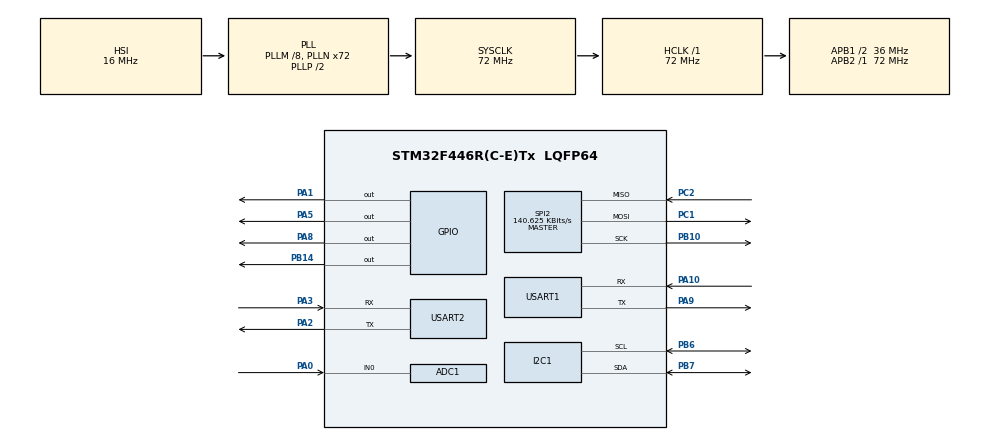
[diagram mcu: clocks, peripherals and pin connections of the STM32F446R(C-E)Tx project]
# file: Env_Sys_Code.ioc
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ADC1.Channel-0\#ChannelRegularConversion=ADC_CHANNEL_0
ADC1.InjNumberOfConversion=0
ADC1.NbrOfConversionFlag=1
ADC1.Rank-0\#ChannelRegularConversion=1
ADC1.SamplingTime-0\#ChannelRegularConversion=ADC_SAMPLETIME_15CYCLES
ADC1.master=1
I2C1.I2C_Mode=I2C_Fast
Mcu.Family=STM32F4
Mcu.Name=STM32F446R(C-E)Tx
Mcu.Package=LQFP64
NVIC.PriorityGroup=NVIC_PRIORITYGROUP_0
NVIC.USART1_IRQn=true\:0\:0\:false\:false\:true\:true\:true\:true
PA0-WKUP.Signal=ADCx_IN0
PA1.Signal=GPIO_Output
PA10.Mode=Asynchronous
PA10.Signal=USART1_RX
PA13.Mode=Serial_Wire
PA13.Signal=SYS_JTMS-SWDIO
PA14.Mode=Serial_Wire
PA14.Signal=SYS_JTCK-SWCLK
PA2.Mode=Asynchronous
PA2.Signal=USART2_TX
PA3.Mode=Asynchronous
PA3.Signal=USART2_RX
PA5.Signal=GPIO_Output
PA8.GPIO_ModeDefaultOutputPP=GPIO_MODE_OUTPUT_PP
PA8.GPIO_PuPd=GPIO_PULLUP
PA8.GPIO_Speed=GPIO_SPEED_FREQ_MEDIUM
PA8.PinState=GPIO_PIN_SET
PA8.Signal=GPIO_Output
PA9.Mode=Asynchronous
PA9.Signal=USART1_TX
PB10.GPIO_PuPd=GPIO_PULLUP
PB10.Mode=Full_Duplex_Master
PB10.Signal=SPI2_SCK
PB14.Signal=GPIO_Output
PB6.Mode=I2C
PB6.Signal=I2C1_SCL
PB7.Mode=I2C
PB7.Signal=I2C1_SDA
PC1.GPIO_PuPd=GPIO_PULLUP
PC1.Mode=Full_Duplex_Master
PC1.Signal=SPI2_MOSI
PC2.GPIO_PuPd=GPIO_PULLUP
PC2.Mode=Full_Duplex_Master
PC2.Signal=SPI2_MISO
PH0-OSC_IN.Mode=HSE-External-Oscillator
PH0-OSC_IN.Signal=RCC_OSC_IN
PH1-OSC_OUT.Mode=HSE-External-Oscillator
PH1-OSC_OUT.Signal=RCC_OSC_OUT
ProjectManager.HeapSize=0x200
ProjectManager.StackSize=0x400
ProjectManager.TargetToolchain=STM32CubeIDE
RCC.48MHZClocksFreq_Value=84000000
RCC.AHBFreq_Value=72000000
RCC.APB1CLKDivider=RCC_HCLK_DIV2
RCC.APB1Freq_Value=36000000
RCC.APB1TimFreq_Value=72000000
RCC.APB2Freq_Value=72000000
RCC.APB2TimFreq_Value=72000000
RCC.CortexFreq_Value=72000000
RCC.FLatency-AdvancedSettings=FLASH_LATENCY_2
RCC.HCLKFreq_Value=72000000
RCC.HSE_VALUE=8000000
RCC.HSI_VALUE=16000000
RCC.PLLM=8
RCC.PLLN=72
RCC.SYSCLKFreq_VALUE=72000000
RCC.SYSCLKSource=RCC_SYSCLKSOURCE_PLLCLK
RCC.USBFreq_Value=72000000
RCC.VCOOutputFreq_Value=144000000
RTC.Date=28
RTC.Hours=12
RTC.Minutes=17
RTC.Month=RTC_MONTH_APRIL
RTC.WeekDay=RTC_WEEKDAY_MONDAY
RTC.Year=0
SH.ADCx_IN0.0=ADC1_IN0,IN0
SPI2.BaudRatePrescaler=SPI_BAUDRATEPRESCALER_256
SPI2.CalculateBaudRate=140.625 KBits/s
SPI2.Direction=SPI_DIRECTION_2LINES
SPI2.Mode=SPI_MODE_MASTER
SPI2.VirtualType=VM_MASTER
TIM1.Prescaler=71
USART1.VirtualMode=VM_ASYNC
USART2.VirtualMode=VM_ASYNC
VP_FATFS_VS_Generic.Mode=User_defined
VP_RTC_VS_RTC_Activate.Mode=RTC_Enabled
VP_RTC_VS_RTC_Calendar.Mode=RTC_Calendar
VP_TIM1_VS_ClockSourceINT.Mode=Internal
board=NUCLEO-F446RE

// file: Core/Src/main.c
/* USER CODE BEGIN Header */
/**
  ******************************************************************************
* @file         : main.c
*@brief         : Main program body

  ******************************************************************************
* @attention
*
*Copyright (c) 2024 STMicroelectronics.
* All rights reserved.
* This software is licensed under terms that can be found in the LICENSE file
* in the root directory of this software, it is provided AS-IS.
*
 ******************************************************************************
  */
/* USER CODE END Header */
#include "main.h"
#include "fatfs.h"

/* USER CODE BEGIN Includes */
extern I2C_HandleTypeDef hi2c1;

#include "fonts.h"
#include "ssd1306.h"
#include <stdio.h>
#include <stdarg.h> //for va_list var arg functions
#include <string.h>

/* USER CODE END Includes */

ADC_HandleTypeDef hadc1;

I2C_HandleTypeDef hi2c1;

RTC_HandleTypeDef hrtc;

SPI_HandleTypeDef hspi2;

TIM_HandleTypeDef htim1;

UART_HandleTypeDef huart1;
UART_HandleTypeDef huart2;

/* USER CODE BEGIN PV */
float temperature;
char string[64];
void myprintf(const char *fmt, ...);
uint16_t gas=0;
char msg[20];
/* USER CODE END PV */

void SystemClock_Config(void);
static void MX_GPIO_Init(void);
static void MX_I2C1_Init(void);
static void MX_TIM1_Init(void);
static void MX_USART1_UART_Init(void);
static void MX_RTC_Init(void);
static void MX_SPI2_Init(void);
static void MX_USART2_UART_Init(void);
static void MX_ADC1_Init(void);

/* USER CODE BEGIN 0 */
void myprintf(const char *fmt, ...) {
  static char buffer[256];
  va_list args;
  va_start(args, fmt);
  vsnprintf(buffer, sizeof(buffer), fmt, args);
  va_end(args);

  int len = strlen(buffer);
  HAL_UART_Transmit(&huart2, (uint8_t*)buffer, len, -1);

}

/* USER CODE END 0 */

int main(void)
{

  /* MCU Configuration--------------------------------------------------------*/

  /* Reset of all peripherals, Initializes the Flash interface and the Systick. */
  HAL_Init();

  /* Configure the system clock */
  SystemClock_Config();

  /* Initialize all configured peripherals */
  MX_GPIO_Init();
  MX_I2C1_Init();
  MX_TIM1_Init();
  MX_USART1_UART_Init();
  MX_RTC_Init();
  MX_SPI2_Init();
  MX_USART2_UART_Init();
  MX_FATFS_Init();
  MX_ADC1_Init();
  /* USER CODE BEGIN 2 */
  HAL_TIM_Base_Start(&htim1);

#define DHT22_PORT GPIOB
#define DHT22_PIN GPIO_PIN_14

uint8_t hum1, hum2, tempC1, tempC2, SUM, CHECK;
uint32_t pMillis, cMillis;
float temp_Celsius = 0;
float Humidity = 0;

uint8_t hum_integral, hum_decimal, tempC_integral, tempC_decimal;
char string[15];

void microDelay (uint16_t delay)
{
  __HAL_TIM_SET_COUNTER(&htim1, 0);
  while (__HAL_TIM_GET_COUNTER(&htim1) < delay);
}

uint8_t DHT22_Start (void)
{
  uint8_t Response = 0;
  GPIO_InitTypeDef GPIO_InitStructPrivate = {0};
  GPIO_InitStructPrivate.Pin = DHT22_PIN;
  GPIO_InitStructPrivate.Mode = GPIO_MODE_OUTPUT_PP;
  GPIO_InitStructPrivate.Speed = GPIO_SPEED_FREQ_LOW;
  GPIO_InitStructPrivate.Pull = GPIO_NOPULL;
  HAL_GPIO_Init(DHT22_PORT, &GPIO_InitStructPrivate);
  HAL_GPIO_WritePin (DHT22_PORT, DHT22_PIN, 0);
  microDelay (1300);
  HAL_GPIO_WritePin (DHT22_PORT, DHT22_PIN, 1);
  microDelay (30);
  GPIO_InitStructPrivate.Mode = GPIO_MODE_INPUT;
  GPIO_InitStructPrivate.Pull = GPIO_PULLUP;
  HAL_GPIO_Init(DHT22_PORT, &GPIO_InitStructPrivate);
  microDelay (40);
  if (!(HAL_GPIO_ReadPin (DHT22_PORT, DHT22_PIN)))
  {
    microDelay (80);
    if ((HAL_GPIO_ReadPin (DHT22_PORT, DHT22_PIN))) Response = 1;
  }
  pMillis = HAL_GetTick();
  cMillis = HAL_GetTick();
  while ((HAL_GPIO_ReadPin (DHT22_PORT, DHT22_PIN)) && pMillis + 2 > cMillis)
  {
    cMillis = HAL_GetTick();
  }
  return Response;
}

uint8_t DHT22_Read (void)
{
  uint8_t x,y;
  for (x=0;x<8;x++)
  {
    pMillis = HAL_GetTick();
    cMillis = HAL_GetTick();
    while (!(HAL_GPIO_ReadPin (DHT22_PORT, DHT22_PIN)) && pMillis + 2 > cMillis)
    {
      cMillis = HAL_GetTick();
    }
    microDelay (40);
    if (!(HAL_GPIO_ReadPin (DHT22_PORT, DHT22_PIN)))   // if the pin is low
      y&= ~(1<<(7-x));
    else
      y|= (1<<(7-x));
    pMillis = HAL_GetTick();
    cMillis = HAL_GetTick();
    while ((HAL_GPIO_ReadPin (DHT22_PORT, DHT22_PIN)) && pMillis + 2 > cMillis)
    {  // wait for the pin to go low
      cMillis = HAL_GetTick();
    }
  }
  return y;
}
  uint8_t res = SSD1306_Init();

  uint8_t rxBuffer[512] = {0};
          uint8_t ATisOK;
          char ATcommand[512];
          char ATcommandB[1024];
          char ATcommandT[512];
          char tempStr[512];
		 char humStr[512];
		 char gasLStr[512];
		 char gasStr[512];

          sprintf(ATcommandB, "<!DOCTYPE html><html>\n<head>\n\
                  <meta charset=\"UTF-8\">\n\
                  <title>Environmental Monitoring</title>\n<meta name=\"viewport\" content=\"width=device-width, initial-scale=1\">\n\
                  <style>\n\
                  body { font-family: Arial, sans-serif; text-align: center; background: #f4f4f4; margin: 0; padding: 0; }\n\
                  header { background-color: #0066cc; color: white; padding: 20px 10px; }\n\
                  h1 { margin: 0; font-size: 26px; }\n\
                  .info-card { background: white; border-radius: 10px; margin: 20px auto; padding: 20px; \n\
                  box-shadow: 0 4px 8px rgba(0,0,0,0.1); width: 90%%; max-width: 400px; }\n\
                  .reading { font-size: 22px; color: #333; margin: 10px 0; }\n\
                  .status { font-size: 18px; color: #888; }\n\
                  footer { margin-top: 30px; color: #666; }\n\
                  </style>\n</head>\n<body>\n\
                  <header><h1>Environmental Monitoring System</h1></header>\n\
                  <div class=\"info-card\">\n");

          sprintf(ATcommandT,
          "</div>\n\
          <footer style=\"background-color: #0066cc; color: white; padding: 15px 10px; font-size: 14px; margin-top: 40px;\">\n\
          <p>&copy; 2025 Environmental Monitoring Project<br>Developed by Nwofor Amuche Prince & Ugama Andrew Ebili</p>\n\
          </footer>\n\
          </body></html>");

//       Establishing connection between esp8266 and the client
          sprintf(ATcommand,"AT+RST\r\n");
          memset(rxBuffer,0,sizeof(rxBuffer));
          HAL_UART_Transmit(&huart1,(uint8_t *)ATcommand,strlen(ATcommand),1000);
          HAL_UART_Receive (&huart1, rxBuffer, 512, 100);
          HAL_Delay(500);

          ATisOK = 0;
          while(!ATisOK){
            sprintf(ATcommand,"AT+CWMODE_CUR=2\r\n");
              memset(rxBuffer,0,sizeof(rxBuffer));
              HAL_UART_Transmit(&huart1,(uint8_t *)ATcommand,strlen(ATcommand),1000);
              HAL_UART_Receive (&huart1, rxBuffer, 512, 1000);
            if(strstr((char *)rxBuffer,"OK")){
              ATisOK = 1;
            }
            HAL_Delay(500);
          }
// Setting the WIFI details
          ATisOK = 0;
          while(!ATisOK){
            sprintf(ATcommand,"AT+CWSAP_CUR=\"IoT-SYSTEM\",\"20252025\",1,3,4,0\r\n");
              memset(rxBuffer,0,sizeof(rxBuffer));
              HAL_UART_Transmit(&huart1,(uint8_t *)ATcommand,strlen(ATcommand),1000);
              HAL_UART_Receive (&huart1, rxBuffer, 512, 1000);
            if(strstr((char *)rxBuffer,"OK")){
              ATisOK = 1;
            }
            HAL_Delay(500);
          }

          ATisOK = 0;
          while(!ATisOK){
            sprintf(ATcommand,"AT+CIPAP_CUR=\"192.168.72.1\"\r\n");
            memset(rxBuffer,0,sizeof(rxBuffer));
            HAL_UART_Transmit(&huart1,(uint8_t *)ATcommand,strlen(ATcommand),1000);
            HAL_UART_Receive (&huart1, rxBuffer, 512, 1000);
            if(strstr((char *)rxBuffer,"OK")){
              ATisOK = 1;
            }
            HAL_Delay(500);
          }

          ATisOK = 0;
          while(!ATisOK){
            sprintf(ATcommand,"AT+CIPMUX=1\r\n");
              memset(rxBuffer,0,sizeof(rxBuffer));
              HAL_UART_Transmit(&huart1,(uint8_t *)ATcommand,strlen(ATcommand),1000);
              HAL_UART_Receive (&huart1, rxBuffer, 512, 1000);
              if(strstr((char *)rxBuffer,"OK")){
                ATisOK = 1;
              }
              HAL_Delay(500);
          }

          ATisOK = 0;
          while(!ATisOK){
            sprintf(ATcommand,"AT+CIPSERVER=1,80\r\n");
            memset(rxBuffer,0,sizeof(rxBuffer));
            HAL_UART_Transmit(&huart1,(uint8_t *)ATcommand,strlen(ATcommand),1000);
            HAL_UART_Receive (&huart1, rxBuffer, 512, 1000);
            if(strstr((char *)rxBuffer,"OK")){
                ATisOK = 1;
            }
            HAL_Delay(500);
          }
		RTC_DateTypeDef sDate;
		RTC_TimeTypeDef sTime;

		myprintf("\r\n~ SD card Project ~\r\n\r\n");

			HAL_Delay(1000); // Let the SD card settle

			// FatFs variables
			FATFS FatFs;   // Filesystem handle
			FRESULT fres;  // Result after operations

			// Mount the filesystem
			fres = f_mount(&FatFs, "", 1);

  /* USER CODE END 2 */

  /* Infinite loop */
  /* USER CODE BEGIN WHILE */
  while (1)
  {
	  HAL_RTC_GetTime(&hrtc, &sTime, RTC_FORMAT_BIN);
	  HAL_RTC_GetDate(&hrtc, &sDate, RTC_FORMAT_BIN);
	  FIL fil;
	  UINT bytesWrote;
	  BYTE writeBuf[100];
	  FRESULT fres;

	  if(DHT22_Start())
	  	     {
	  	       hum1 = DHT22_Read();
	  	       hum2 = DHT22_Read();
	  	       tempC1 = DHT22_Read();
	  	       tempC2 = DHT22_Read();
	  	       SUM = DHT22_Read();
	  	       CHECK = hum1 + hum2 + tempC1 + tempC2;
	  	       if (CHECK == SUM)
	  	       {
	  	         if (tempC1>127)
	  	         {
	  	           temp_Celsius = (float)tempC2/10*(-1);
	  	         }
	  	         else
	  	         {
	  	           temp_Celsius = (float)((tempC1<<8)|tempC2)/10;
	  	         }

	  	         Humidity = (float) ((hum1<<8)|hum2)/10;

	  	         SSD1306_GotoXY (0, 0);
	  	         hum_integral = Humidity;
	  	         hum_decimal = Humidity*10-hum_integral*10;
	  	         sprintf(string,"Hum:%d.%d %% ", hum_integral, hum_decimal);
	  	         SSD1306_Puts (string, &Font_11x18, 1);

	  	         SSD1306_GotoXY (0, 20);
	  	         if (temp_Celsius < 0)
	  	         {
	  	           tempC_integral = temp_Celsius *(-1);
	  	           tempC_decimal = temp_Celsius*(-10)-tempC_integral*10;
	  	           sprintf(string,"Temp:-%d.%d C", tempC_integral, tempC_decimal);
	  	         }
	  	         else
	  	         {
	  	           tempC_integral = temp_Celsius;
	  	           tempC_decimal = temp_Celsius*10-tempC_integral*10;
	  	           sprintf(string,"Temp:%d.%d C", tempC_integral, tempC_decimal);
	  	         }
	  	         SSD1306_Puts (string, &Font_11x18, 1);

	  	         SSD1306_GotoXY (0, 40);

	  	         // Gas Reading code
	  	         HAL_ADC_Start(&hadc1);
	  	         HAL_ADC_PollForConversion(&hadc1, 20);
	  	         gas = HAL_ADC_GetValue(&hadc1);

	  	       // If gas value is less than 1010,  turn off the alarm systems and Display the readings
	  	         if (gas <= 1010)
					 {
						 HAL_GPIO_WritePin(GPIOA, GPIO_PIN_5, GPIO_PIN_RESET);  // Turn off LED
						 sprintf(string,"Normal Air Quality");
						 HAL_GPIO_WritePin(GPIOA, GPIO_PIN_1, GPIO_PIN_RESET); // Turrn off buzzer
						// Display the reading on the Oled
						 SSD1306_Puts (string, &Font_7x10, 1);
						 SSD1306_UpdateScreen();
						 //Display the reading on a webpage
						 sprintf(tempStr, "<div class=\"reading\">Temperature: <strong>%d.%d &deg;C</strong></div>\n",tempC_integral, tempC_decimal);
						 sprintf(humStr, "<div class=\"reading\">Humidity: <strong>%d.%d %%</strong></div>\n",hum_integral, hum_decimal);
						 sprintf(gasLStr, "<div class=\"reading\">LPG Level: <strong>%hu</strong></div>\n",gas);
						 sprintf(gasLStr, "<div class=\"reading\">LPG Level: <strong>%hu</strong></div>\n",gas);
						 sprintf(gasStr, "<div class=\"reading\" style=\"font-weight: bold;\">No Toxic Gas Detected!</div>\n");
							  memset(rxBuffer, 0, sizeof(rxBuffer));
							  HAL_UART_Receive(&huart1, rxBuffer, 512, 1000);

							  // Check if we have an incoming request for the page
							  if(strstr((char *)rxBuffer, "GET /"))
							  {
								  // Prepare and send the HTML page with the current temperature
									  sprintf(ATcommand, "AT+CIPSEND=0,%d\r\n", strlen(ATcommandB)  + strlen(tempStr)  + strlen(humStr) + strlen(gasLStr)+ strlen(gasStr)+ strlen(ATcommandT));
									  memset(rxBuffer, 0, sizeof(rxBuffer));
									  HAL_UART_Transmit(&huart1, (uint8_t *)ATcommand, strlen(ATcommand), 1000);
									  HAL_UART_Receive(&huart1, rxBuffer, 512, 100);

								  if(strstr((char *)rxBuffer, ">"))
								  {
									  memset(rxBuffer, 0, sizeof(rxBuffer));
									  HAL_UART_Transmit(&huart1, (uint8_t *)ATcommandB, strlen(ATcommandB), 1000);
									  HAL_UART_Transmit(&huart1, (uint8_t *)tempStr, strlen(tempStr), 1000);
									  HAL_UART_Transmit(&huart1, (uint8_t *)humStr, strlen(humStr), 1000);
									  HAL_UART_Transmit(&huart1, (uint8_t *)gasLStr, strlen(gasLStr), 1000);
									  HAL_UART_Transmit(&huart1, (uint8_t *)gasStr, strlen(gasStr), 1000);
									  HAL_UART_Transmit(&huart1, (uint8_t *)ATcommandT, strlen(ATcommandT), 1000);
									  HAL_UART_Receive(&huart1, rxBuffer, 512, 100);
								  }

								  // Close the connection after sending the response
								  sprintf(ATcommand, "AT+CIPCLOSE=0\r\n");
								  memset(rxBuffer, 0, sizeof(rxBuffer));
								  HAL_UART_Transmit(&huart1, (uint8_t *)ATcommand, strlen(ATcommand), 1000);
								  HAL_UART_Receive(&huart1, rxBuffer, 512, 100);

					 }

								  // Data Storage code
					  fres = f_open(&fil, "data.txt", FA_WRITE | FA_OPEN_ALWAYS);
						  if (fres == FR_OK) {
							myprintf("Opened 'data.txt' for appending\r\n");

							// Move the file pointer to the end to append
							f_lseek(&fil, f_size(&fil));

							// Append a new line
							f_write(&fil, "\r\n", 2, &bytesWrote);

							// Write message
							snprintf(writeBuf, sizeof(writeBuf),
									 " Date&Time: %04d-%02d-%02d %02d:%02d:%02d  Temp:%d.%d C  Hum:%d.%d %%  LPG Level:%hu Air Quality:Normal", 2025 + sDate.Year, sDate.Month, sDate.Date, sTime.Hours, sTime.Minutes,      								sTime.Seconds,tempC_integral, tempC_decimal,hum_integral, hum_decimal,gas);
							fres = f_write(&fil, writeBuf, strlen((char*)writeBuf), &bytesWrote);
							if (fres == FR_OK) {
							  myprintf("Wrote %i bytes: %s\r\n", bytesWrote, writeBuf);
							} else {
							  myprintf("f_write error (%i)\r\n", fres);
							}

							f_close(&fil);
						  } else {
							myprintf("Failed to open 'data.txt' (%i)\r\n", fres);
						  }

	  	      	         }
	  	         	 //	if the gas reading is above the threshold, activate the alert system and display the reading
	  	      	         else
	  	      	         {

	  	      	     	 HAL_GPIO_WritePin(GPIOA, GPIO_PIN_5, GPIO_PIN_SET); // Turn On LED
						 sprintf(string,"Toxic Gas Detected");
						 HAL_GPIO_WritePin(GPIOA, GPIO_PIN_1, GPIO_PIN_SET); // Turn On  the Buzzer
					//	 Display the reading on OLed
						 SSD1306_Puts (string, &Font_7x10, 1);
						 SSD1306_UpdateScreen();
                   //		Send the reading to a web server
    	      	         sprintf(tempStr, "<div class=\"reading\">Temperature: <strong>%d.%d &deg;C</strong></div>\n",tempC_integral, tempC_decimal);
	  	      	         sprintf(humStr, "<div class=\"reading\">Humidity: <strong>%d.%d %%</strong></div>\n",hum_integral, hum_decimal);
	  	      	         sprintf(gasLStr, "<div class=\"reading\">LPG Level: <strong>%hu</strong></div>\n",gas);
						  sprintf(gasStr, "<div class=\"reading\" style=\"color: red; font-weight: bold;\">⚠️ Toxic Gas Detected!</div>\n");

						  memset(rxBuffer, 0, sizeof(rxBuffer));
						  HAL_UART_Receive(&huart1, rxBuffer, 512, 1000);

						  // Check if we have an incoming request for the page
						  if(strstr((char *)rxBuffer, "GET /"))
						  {
							  // Prepare and send the HTML page with the current temperature
							  sprintf(ATcommand, "AT+CIPSEND=0,%d\r\n", strlen(ATcommandB)  + strlen(tempStr) + strlen(humStr) + strlen(gasLStr)+ strlen(gasStr)+ strlen(ATcommandT));
							  memset(rxBuffer, 0, sizeof(rxBuffer));
							  HAL_UART_Transmit(&huart1, (uint8_t *)ATcommand, strlen(ATcommand), 1000);
							  HAL_UART_Receive(&huart1, rxBuffer, 512, 100);

							  if(strstr((char *)rxBuffer, ">"))
							  {
								  memset(rxBuffer, 0, sizeof(rxBuffer));
								  HAL_UART_Transmit(&huart1, (uint8_t *)ATcommandB, strlen(ATcommandB), 1000);
								  HAL_UART_Transmit(&huart1, (uint8_t *)tempStr, strlen(tempStr), 1000);
								  HAL_UART_Transmit(&huart1, (uint8_t *)humStr, strlen(humStr), 1000);
								  HAL_UART_Transmit(&huart1, (uint8_t *)gasLStr, strlen(gasLStr), 1000);
								  HAL_UART_Transmit(&huart1, (uint8_t *)gasStr, strlen(gasStr), 1000);
//								  HAL_UART_Transmit(&huart1, (uint8_t *)ATcommandBTN, strlen(ATcommandBTN), 1000);
								  HAL_UART_Transmit(&huart1, (uint8_t *)ATcommandT, strlen(ATcommandT), 1000);
								  HAL_UART_Receive(&huart1, rxBuffer, 512, 100);
							  }

							  // Close the connection after sending the response
							  sprintf(ATcommand, "AT+CIPCLOSE=0\r\n");
							  memset(rxBuffer, 0, sizeof(rxBuffer));
							  HAL_UART_Transmit(&huart1, (uint8_t *)ATcommand, strlen(ATcommand), 1000);
							 HAL_UART_Receive(&huart1, rxBuffer, 512, 100);

							  }

//						  SD Card code
						  fres = f_open(&fil, "data.txt", FA_WRITE | FA_OPEN_ALWAYS);
							  if (fres == FR_OK) {
								myprintf("Opened 'data.txt' for appending\r\n");

								// Move the file pointer to the end to append
								f_lseek(&fil, f_size(&fil));

								// Append a new line
								f_write(&fil, "\r\n", 2, &bytesWrote);

								// Write message
								snprintf(writeBuf, sizeof(writeBuf), " Date&Time: %04d-%02d-%02d %02d:%02d:%02d  Temp:%d.%d C  Hum:%d.%d %%  LPG Level:%hu Air Quality:Toxic", 2025 + sDate.Year, sDate.Month, sDate.Date, sTime.Hours, sTime.Minutes, sTime.Seconds,tempC_integral, tempC_decimal,hum_integral, hum_decimal,gas);
								fres = f_write(&fil, writeBuf, strlen((char*)writeBuf), &bytesWrote);
								if (fres == FR_OK) {
								  myprintf("Wrote %i bytes: %s\r\n", bytesWrote, writeBuf);
								} else {
								  myprintf("f_write error (%i)\r\n", fres);
								}

								f_close(&fil);
							  } else {
								myprintf("Failed to open 'data.txt' (%i)\r\n", fres);
							  }

	  	       }
//	  	Checking if the gas reading is above the threshold
	  	       if ( tempC_integral > 28 & tempC_decimal >=1)
				 {
					 HAL_GPIO_WritePin(GPIOA, GPIO_PIN_5, GPIO_PIN_SET);  // Turn on Led
					 HAL_GPIO_WritePin(GPIOA, GPIO_PIN_1, GPIO_PIN_SET); // Turn On Buzzer
					 HAL_Delay(500);
					 HAL_GPIO_WritePin(GPIOA, GPIO_PIN_5, GPIO_PIN_RESET);  // Turn off Buzzer
					 HAL_GPIO_WritePin(GPIOA, GPIO_PIN_1, GPIO_PIN_RESET);
					 HAL_Delay(500);

					 }
	  	     }

    /* USER CODE END WHILE */

  }
  }
}

void SystemClock_Config(void)
{
  RCC_OscInitTypeDef RCC_OscInitStruct = {0};
  RCC_ClkInitTypeDef RCC_ClkInitStruct = {0};

  /** Configure the main internal regulator output voltage
  */
  __HAL_RCC_PWR_CLK_ENABLE();
  __HAL_PWR_VOLTAGESCALING_CONFIG(PWR_REGULATOR_VOLTAGE_SCALE3);

  /** Initializes the RCC Oscillators according to the specified parameters
  * in the RCC_OscInitTypeDef structure.
  */
  RCC_OscInitStruct.OscillatorType = RCC_OSCILLATORTYPE_HSI|RCC_OSCILLATORTYPE_LSI;
  RCC_OscInitStruct.LSEState = RCC_LSE_OFF;
  RCC_OscInitStruct.HSIState = RCC_HSI_ON;
  RCC_OscInitStruct.HSICalibrationValue = RCC_HSICALIBRATION_DEFAULT;
  RCC_OscInitStruct.LSIState = RCC_LSI_ON;
  RCC_OscInitStruct.PLL.PLLState = RCC_PLL_ON;
  RCC_OscInitStruct.PLL.PLLSource = RCC_PLLSOURCE_HSI;
  RCC_OscInitStruct.PLL.PLLM = 8;
  RCC_OscInitStruct.PLL.PLLN = 72;
  RCC_OscInitStruct.PLL.PLLP = RCC_PLLP_DIV2;
  RCC_OscInitStruct.PLL.PLLQ = 2;
  RCC_OscInitStruct.PLL.PLLR = 2;
  if (HAL_RCC_OscConfig(&RCC_OscInitStruct) != HAL_OK)
  {
    Error_Handler();
  }

  /** Initializes the CPU, AHB and APB buses clocks
  */
  RCC_ClkInitStruct.ClockType = RCC_CLOCKTYPE_HCLK|RCC_CLOCKTYPE_SYSCLK
                              |RCC_CLOCKTYPE_PCLK1|RCC_CLOCKTYPE_PCLK2;
  RCC_ClkInitStruct.SYSCLKSource = RCC_SYSCLKSOURCE_PLLCLK;
  RCC_ClkInitStruct.AHBCLKDivider = RCC_SYSCLK_DIV1;
  RCC_ClkInitStruct.APB1CLKDivider = RCC_HCLK_DIV2;
  RCC_ClkInitStruct.APB2CLKDivider = RCC_HCLK_DIV1;

  if (HAL_RCC_ClockConfig(&RCC_ClkInitStruct, FLASH_LATENCY_2) != HAL_OK)
  {
    Error_Handler();
  }
}

static void MX_ADC1_Init(void)
{

  ADC_ChannelConfTypeDef sConfig = {0};

  /** Configure the global features of the ADC (Clock, Resolution, Data Alignment and number of conversion)
  */
  hadc1.Instance = ADC1;
  hadc1.Init.ClockPrescaler = ADC_CLOCK_SYNC_PCLK_DIV2;
  hadc1.Init.Resolution = ADC_RESOLUTION_12B;
  hadc1.Init.ScanConvMode = DISABLE;
  hadc1.Init.ContinuousConvMode = DISABLE;
  hadc1.Init.DiscontinuousConvMode = DISABLE;
  hadc1.Init.ExternalTrigConvEdge = ADC_EXTERNALTRIGCONVEDGE_NONE;
  hadc1.Init.ExternalTrigConv = ADC_SOFTWARE_START;
  hadc1.Init.DataAlign = ADC_DATAALIGN_RIGHT;
  hadc1.Init.NbrOfConversion = 1;
  hadc1.Init.DMAContinuousRequests = DISABLE;
  hadc1.Init.EOCSelection = ADC_EOC_SINGLE_CONV;
  if (HAL_ADC_Init(&hadc1) != HAL_OK)
  {
    Error_Handler();
  }

  /** Configure for the selected ADC regular channel its corresponding rank in the sequencer and its sample time.
  */
  sConfig.Channel = ADC_CHANNEL_0;
  sConfig.Rank = 1;
  sConfig.SamplingTime = ADC_SAMPLETIME_15CYCLES;
  if (HAL_ADC_ConfigChannel(&hadc1, &sConfig) != HAL_OK)
  {
    Error_Handler();
  }

}

static void MX_I2C1_Init(void)
{

  hi2c1.Instance = I2C1;
  hi2c1.Init.ClockSpeed = 400000;
  hi2c1.Init.DutyCycle = I2C_DUTYCYCLE_2;
  hi2c1.Init.OwnAddress1 = 0;
  hi2c1.Init.AddressingMode = I2C_ADDRESSINGMODE_7BIT;
  hi2c1.Init.DualAddressMode = I2C_DUALADDRESS_DISABLE;
  hi2c1.Init.OwnAddress2 = 0;
  hi2c1.Init.GeneralCallMode = I2C_GENERALCALL_DISABLE;
  hi2c1.Init.NoStretchMode = I2C_NOSTRETCH_DISABLE;
  if (HAL_I2C_Init(&hi2c1) != HAL_OK)
  {
    Error_Handler();
  }

}

static void MX_RTC_Init(void)
{

  RTC_TimeTypeDef sTime = {0};
  RTC_DateTypeDef sDate = {0};

  /** Initialize RTC Only
  */
  hrtc.Instance = RTC;
  hrtc.Init.HourFormat = RTC_HOURFORMAT_24;
  hrtc.Init.AsynchPrediv = 127;
  hrtc.Init.SynchPrediv = 255;
  hrtc.Init.OutPut = RTC_OUTPUT_DISABLE;
  hrtc.Init.OutPutPolarity = RTC_OUTPUT_POLARITY_HIGH;
  hrtc.Init.OutPutType = RTC_OUTPUT_TYPE_OPENDRAIN;
  if (HAL_RTC_Init(&hrtc) != HAL_OK)
  {
    Error_Handler();
  }

  /* USER CODE BEGIN Check_RTC_BKUP */
  if (HAL_RTCEx_BKUPRead(&hrtc, RTC_BKP_DR1) != 0x32F2) {
    // RTC not yet initialized: set default time and date

    sTime.Hours = 0x12;
    sTime.Minutes = 0x22;
    sTime.Seconds = 0x00;
    sTime.DayLightSaving = RTC_DAYLIGHTSAVING_NONE;
    sTime.StoreOperation = RTC_STOREOPERATION_RESET;

    sDate.WeekDay = RTC_WEEKDAY_FRIDAY;
    sDate.Month = RTC_MONTH_APRIL;
    sDate.Date = 0x28;
    sDate.Year = 0x25; // 2025

    if (HAL_RTC_SetTime(&hrtc, &sTime, RTC_FORMAT_BCD) != HAL_OK)
    {
      Error_Handler();
    }

    if (HAL_RTC_SetDate(&hrtc, &sDate, RTC_FORMAT_BCD) != HAL_OK)
    {
      Error_Handler();
    }

    // Mark RTC as initialized
    HAL_RTCEx_BKUPWrite(&hrtc, RTC_BKP_DR1, 0x32F2);
  }
  /* USER CODE END Check_RTC_BKUP */

  /** Initialize RTC and set the Time and Date
  */

  /* USER CODE BEGIN RTC_Init 2 */
  // You can place code here to read current time/date if needed
  /* USER CODE END RTC_Init 2 */

}

static void MX_SPI2_Init(void)
{

  /* SPI2 parameter configuration*/
  hspi2.Instance = SPI2;
  hspi2.Init.Mode = SPI_MODE_MASTER;
  hspi2.Init.Direction = SPI_DIRECTION_2LINES;
  hspi2.Init.DataSize = SPI_DATASIZE_8BIT;
  hspi2.Init.CLKPolarity = SPI_POLARITY_LOW;
  hspi2.Init.CLKPhase = SPI_PHASE_1EDGE;
  hspi2.Init.NSS = SPI_NSS_SOFT;
  hspi2.Init.BaudRatePrescaler = SPI_BAUDRATEPRESCALER_256;
  hspi2.Init.FirstBit = SPI_FIRSTBIT_MSB;
  hspi2.Init.TIMode = SPI_TIMODE_DISABLE;
  hspi2.Init.CRCCalculation = SPI_CRCCALCULATION_DISABLE;
  hspi2.Init.CRCPolynomial = 10;
  if (HAL_SPI_Init(&hspi2) != HAL_OK)
  {
    Error_Handler();
  }

}

static void MX_TIM1_Init(void)
{

  TIM_ClockConfigTypeDef sClockSourceConfig = {0};
  TIM_MasterConfigTypeDef sMasterConfig = {0};

  htim1.Instance = TIM1;
  htim1.Init.Prescaler = 71;
  htim1.Init.CounterMode = TIM_COUNTERMODE_UP;
  htim1.Init.Period = 65535;
  htim1.Init.ClockDivision = TIM_CLOCKDIVISION_DIV1;
  htim1.Init.RepetitionCounter = 0;
  htim1.Init.AutoReloadPreload = TIM_AUTORELOAD_PRELOAD_DISABLE;
  if (HAL_TIM_Base_Init(&htim1) != HAL_OK)
  {
    Error_Handler();
  }
  sClockSourceConfig.ClockSource = TIM_CLOCKSOURCE_INTERNAL;
  if (HAL_TIM_ConfigClockSource(&htim1, &sClockSourceConfig) != HAL_OK)
  {
    Error_Handler();
  }
  sMasterConfig.MasterOutputTrigger = TIM_TRGO_RESET;
  sMasterConfig.MasterSlaveMode = TIM_MASTERSLAVEMODE_DISABLE;
  if (HAL_TIMEx_MasterConfigSynchronization(&htim1, &sMasterConfig) != HAL_OK)
  {
    Error_Handler();
  }

}

static void MX_USART1_UART_Init(void)
{

  huart1.Instance = USART1;
  huart1.Init.BaudRate = 115200;
  huart1.Init.WordLength = UART_WORDLENGTH_8B;
  huart1.Init.StopBits = UART_STOPBITS_1;
  huart1.Init.Parity = UART_PARITY_NONE;
  huart1.Init.Mode = UART_MODE_TX_RX;
  huart1.Init.HwFlowCtl = UART_HWCONTROL_NONE;
  huart1.Init.OverSampling = UART_OVERSAMPLING_16;
  if (HAL_UART_Init(&huart1) != HAL_OK)
  {
    Error_Handler();
  }

}

static void MX_USART2_UART_Init(void)
{

  huart2.Instance = USART2;
  huart2.Init.BaudRate = 115200;
  huart2.Init.WordLength = UART_WORDLENGTH_8B;
  huart2.Init.StopBits = UART_STOPBITS_1;
  huart2.Init.Parity = UART_PARITY_NONE;
  huart2.Init.Mode = UART_MODE_TX_RX;
  huart2.Init.HwFlowCtl = UART_HWCONTROL_NONE;
  huart2.Init.OverSampling = UART_OVERSAMPLING_16;
  if (HAL_UART_Init(&huart2) != HAL_OK)
  {
    Error_Handler();
  }

}

static void MX_GPIO_Init(void)
{
  GPIO_InitTypeDef GPIO_InitStruct = {0};

  /* GPIO Ports Clock Enable */
  __HAL_RCC_GPIOH_CLK_ENABLE();
  __HAL_RCC_GPIOC_CLK_ENABLE();
  __HAL_RCC_GPIOA_CLK_ENABLE();
  __HAL_RCC_GPIOB_CLK_ENABLE();

  /*Configure GPIO pin Output Level */
  HAL_GPIO_WritePin(GPIOA, GPIO_PIN_1|GPIO_PIN_5, GPIO_PIN_RESET);

  /*Configure GPIO pin Output Level */
  HAL_GPIO_WritePin(GPIOB, GPIO_PIN_14, GPIO_PIN_RESET);

  /*Configure GPIO pin Output Level */
  HAL_GPIO_WritePin(GPIOA, GPIO_PIN_8, GPIO_PIN_SET);

  /*Configure GPIO pins : PA1 PA5 */
  GPIO_InitStruct.Pin = GPIO_PIN_1|GPIO_PIN_5;
  GPIO_InitStruct.Mode = GPIO_MODE_OUTPUT_PP;
  GPIO_InitStruct.Pull = GPIO_NOPULL;
  GPIO_InitStruct.Speed = GPIO_SPEED_FREQ_LOW;
  HAL_GPIO_Init(GPIOA, &GPIO_InitStruct);

  /*Configure GPIO pin : PB14 */
  GPIO_InitStruct.Pin = GPIO_PIN_14;
  GPIO_InitStruct.Mode = GPIO_MODE_OUTPUT_PP;
  GPIO_InitStruct.Pull = GPIO_NOPULL;
  GPIO_InitStruct.Speed = GPIO_SPEED_FREQ_LOW;
  HAL_GPIO_Init(GPIOB, &GPIO_InitStruct);

  /*Configure GPIO pin : PA8 */
  GPIO_InitStruct.Pin = GPIO_PIN_8;
  GPIO_InitStruct.Mode = GPIO_MODE_OUTPUT_PP;
  GPIO_InitStruct.Pull = GPIO_PULLUP;
  GPIO_InitStruct.Speed = GPIO_SPEED_FREQ_MEDIUM;
  HAL_GPIO_Init(GPIOA, &GPIO_InitStruct);

}

void Error_Handler(void)
{
  __disable_irq();
  while (1)
  {
  }
}
